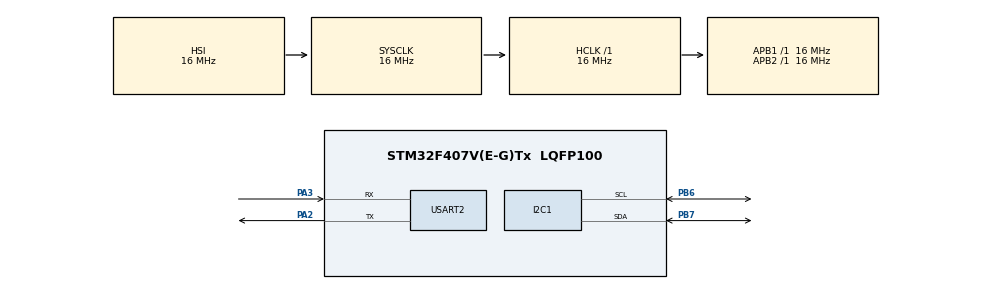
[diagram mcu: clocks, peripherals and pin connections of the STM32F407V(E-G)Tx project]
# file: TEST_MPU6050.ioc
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Mcu.Family=STM32F4
Mcu.Name=STM32F407V(E-G)Tx
Mcu.Package=LQFP100
NVIC.PriorityGroup=NVIC_PRIORITYGROUP_4
PA13.Mode=Serial_Wire
PA13.Signal=SYS_JTMS-SWDIO
PA14.Mode=Serial_Wire
PA14.Signal=SYS_JTCK-SWCLK
PA2.Mode=Asynchronous
PA2.Signal=USART2_TX
PA3.Mode=Asynchronous
PA3.Signal=USART2_RX
PB6.GPIO_Pu=GPIO_PULLUP
PB6.Mode=I2C
PB6.Signal=I2C1_SCL
PB7.GPIO_Pu=GPIO_PULLUP
PB7.Mode=I2C
PB7.Signal=I2C1_SDA
PH0-OSC_IN.Mode=HSE-External-Oscillator
PH0-OSC_IN.Signal=RCC_OSC_IN
PH1-OSC_OUT.Mode=HSE-External-Oscillator
PH1-OSC_OUT.Signal=RCC_OSC_OUT
ProjectManager.HeapSize=0x200
ProjectManager.StackSize=0x400
ProjectManager.TargetToolchain=STM32CubeIDE
RCC.AHBFreq_Value=16000000
RCC.APB1Freq_Value=16000000
RCC.APB2Freq_Value=16000000
RCC.CortexFreq_Value=16000000
RCC.HSE_VALUE=25000000
RCC.HSI_VALUE=16000000
RCC.LSE_VALUE=32768
RCC.SYSCLKFreq_VALUE=16000000
RCC.VCOOutputFreq_Value=192000000
USART2.VirtualMode=VM_ASYNC
board=custom

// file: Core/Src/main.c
/* USER CODE BEGIN Header */
/**
  ******************************************************************************
  * @file           : main.c
  * @brief          : Main program body
  ******************************************************************************
  * @attention
  *
  * Copyright (c) 2026 STMicroelectronics.
  * All rights reserved.
  *
  * This software is licensed under terms that can be found in the LICENSE file
  * in the root directory of this software component.
  * If no LICENSE file comes with this software, it is provided AS-IS.
  *
  ******************************************************************************
  */
/* USER CODE END Header */
#include "main.h"
#include "i2c.h"
#include "usart.h"
#include "gpio.h"

/* USER CODE BEGIN Includes */
#include "mpu6050.h"
#include <stdio.h>
#include <string.h>
/* USER CODE END Includes */

/* USER CODE BEGIN PV */
MPU6050_t MPU6050;
char uart_buffer[300];
/* USER CODE END PV */

void SystemClock_Config(void);

int main(void)
{

  /* MCU Configuration--------------------------------------------------------*/

  /* Reset of all peripherals, Initializes the Flash interface and the Systick. */
  HAL_Init();

  /* Configure the system clock */
  SystemClock_Config();

  /* Initialize all configured peripherals */
  MX_GPIO_Init();
  MX_I2C1_Init();
  MX_USART2_UART_Init();
  /* USER CODE BEGIN 2 */

  if (MPU6050_Init(&hi2c1) != 0)
  {
      char msg[] = "MPU6050 ERROR\r\n";

      HAL_UART_Transmit(&huart2,
                        (uint8_t *)msg,
                        strlen(msg),
                        HAL_MAX_DELAY);
  }
  else
  {
      char msg[] = "MPU6050 OK\r\n";

      HAL_UART_Transmit(&huart2,
                        (uint8_t *)msg,
                        strlen(msg),
                        HAL_MAX_DELAY);
  }
  /* USER CODE END 2 */

  /* Infinite loop */
  while (1)
  {
	  MPU6050_Read_All(&hi2c1, &MPU6050);

	  sprintf(uart_buffer, // @suppress("Float formatting support")
	          "ACC: X=%.2f g | Y=%.2f g | Z=%.2f g\r\n"
	          "GYRO: X=%.2f dps | Y=%.2f dps | Z=%.2f dps\r\n"
	          "TEMP: %.2f C\r\n"
	          "KALMAN: X=%.2f deg | Y=%.2f deg\r\n"
	          "-----------------------------\r\n",
	          MPU6050.Ax,
	          MPU6050.Ay,
	          MPU6050.Az,
	          MPU6050.Gx,
	          MPU6050.Gy,
	          MPU6050.Gz,
	          MPU6050.Temperature,
	          MPU6050.KalmanAngleX,
	          MPU6050.KalmanAngleY);

	    HAL_UART_Transmit(&huart2,
	                      (uint8_t *)uart_buffer,
	                      strlen(uart_buffer),
	                      HAL_MAX_DELAY);

	    HAL_Delay(100);
  }
}

void SystemClock_Config(void)
{
  RCC_OscInitTypeDef RCC_OscInitStruct = {0};
  RCC_ClkInitTypeDef RCC_ClkInitStruct = {0};

  /** Configure the main internal regulator output voltage
  */
  __HAL_RCC_PWR_CLK_ENABLE();
  __HAL_PWR_VOLTAGESCALING_CONFIG(PWR_REGULATOR_VOLTAGE_SCALE1);

  /** Initializes the RCC Oscillators according to the specified parameters
  * in the RCC_OscInitTypeDef structure.
  */
  RCC_OscInitStruct.OscillatorType = RCC_OSCILLATORTYPE_HSI;
  RCC_OscInitStruct.HSIState = RCC_HSI_ON;
  RCC_OscInitStruct.HSICalibrationValue = RCC_HSICALIBRATION_DEFAULT;
  RCC_OscInitStruct.PLL.PLLState = RCC_PLL_NONE;
  if (HAL_RCC_OscConfig(&RCC_OscInitStruct) != HAL_OK)
  {
    Error_Handler();
  }

  /** Initializes the CPU, AHB and APB buses clocks
  */
  RCC_ClkInitStruct.ClockType = RCC_CLOCKTYPE_HCLK|RCC_CLOCKTYPE_SYSCLK
                              |RCC_CLOCKTYPE_PCLK1|RCC_CLOCKTYPE_PCLK2;
  RCC_ClkInitStruct.SYSCLKSource = RCC_SYSCLKSOURCE_HSI;
  RCC_ClkInitStruct.AHBCLKDivider = RCC_SYSCLK_DIV1;
  RCC_ClkInitStruct.APB1CLKDivider = RCC_HCLK_DIV1;
  RCC_ClkInitStruct.APB2CLKDivider = RCC_HCLK_DIV1;

  if (HAL_RCC_ClockConfig(&RCC_ClkInitStruct, FLASH_LATENCY_0) != HAL_OK)
  {
    Error_Handler();
  }
}

void Error_Handler(void)
{
  __disable_irq();
  while (1)
  {
  }
}
